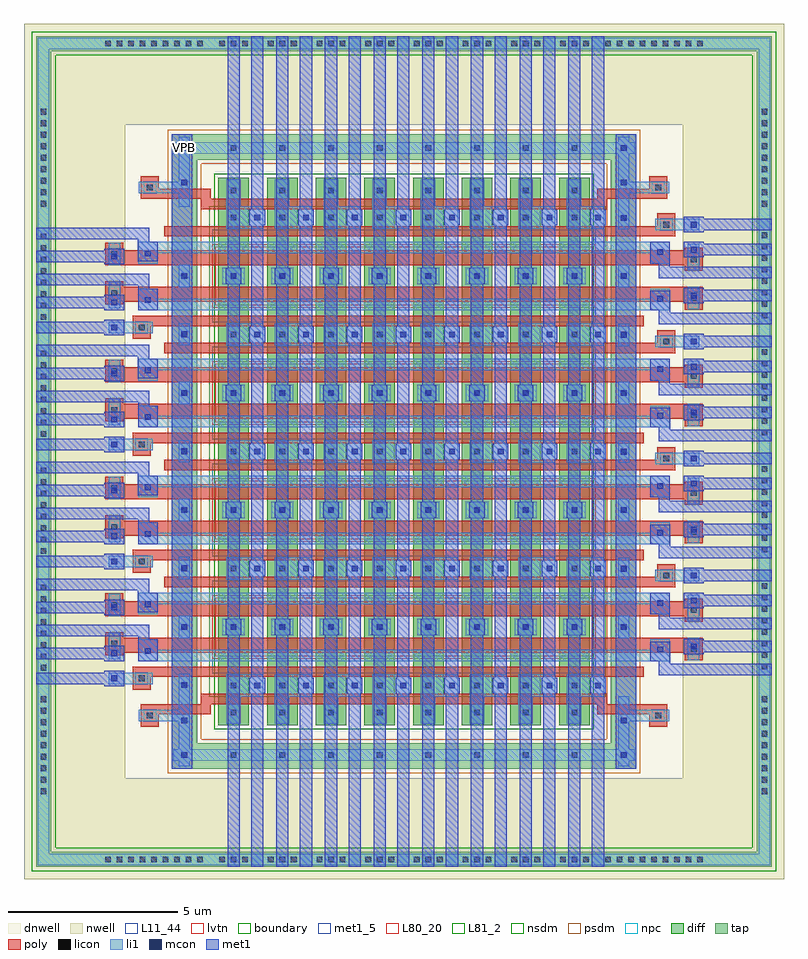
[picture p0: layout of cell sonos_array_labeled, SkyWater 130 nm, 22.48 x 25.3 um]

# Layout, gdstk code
from math import pi, radians
import gdstk
lib = gdstk.Library(unit=1e-6, precision=1e-09)
def R(c, l, rs):  # rectangles x0, y0, x1, y1
    for r in rs: c.add(gdstk.rectangle(r[:2], r[2:], *l))
def A(c, l, x, y, w, h, nx, ny, dx, dy):  # array of equal rectangles
    R(c, l, [(x+i*dx, y+j*dy, x+i*dx+w, y+j*dy+h) for i in range(nx) for j in range(ny)])
L11_44 = (11, 44)
dnwell = (64, 18)
nwell = (64, 20)
diff = (65, 20)
tap = (65, 44)
poly = (66, 20)
licon = (66, 44)
li1 = (67, 20)
mcon = (67, 44)
met1_5 = (68, 5)
met1 = (68, 20)
L80_20 = (80, 20)
L81_2 = (81, 2)
nsdm = (93, 44)
psdm = (94, 20)
npc = (95, 20)
lvtn = (125, 44)
boundary = (235, 4)

sonos_endcap_tb = lib.new_cell('sonos_endcap_tb')
R(sonos_endcap_tb, dnwell, [(-2.04,-8.93,-0.59,-6.8), (-2.04,-6.8,-0.6,-3.73)])
R(sonos_endcap_tb, nwell, [(-2.04,-9.79,-0.6,-6.8)])
R(sonos_endcap_tb, diff, [(-1.77,-5.23,-0.87,-3.81)])
R(sonos_endcap_tb, tap, [(-2.04,-9.43,-0.6,-8.98), (-2.04,-6.53,-0.59,-5.77)])
R(sonos_endcap_tb, poly, [(-2.04,-4.61,-0.6,-4.31)])
A(sonos_endcap_tb, licon, -1.745, -9.295, 0.17, 0.17, 3, 1, 0.34, 0)
R(sonos_endcap_tb, licon, [(-1.405,-6.205,-1.235,-6.035), (-1.405,-4.945,-1.235,-4.775), (-1.405,-4.145,-1.235,-3.975)])
R(sonos_endcap_tb, li1, [(-2.04,-9.38,-0.6,-9.04), (-2.04,-6.29,-0.59,-5.95), (-1.54,-5.19,-1.11,-4.39), (-1.54,-4.39,-0.44,-3.73)])
R(sonos_endcap_tb, mcon, [(-0.705,-4.145,-0.535,-3.975)])
R(sonos_endcap_tb, met1, [(-1.5,-9.43,-1.14,-3.81), (-0.8,-9.43,-0.44,-4.29), (-0.85,-4.29,-0.39,-3.83), (-0.8,-3.83,-0.44,-3.77)])
R(sonos_endcap_tb, nsdm, [(-2.165,-9.555,-0.475,-8.855), (-1.895,-5.355,-0.745,-3.685)])
R(sonos_endcap_tb, psdm, [(-2.165,-6.655,-0.465,-5.645)])

sonos_endcap_lr = lib.new_cell('sonos_endcap_lr')
R(sonos_endcap_lr, dnwell, [(-4.62,-2.12,0,1.34)])
R(sonos_endcap_lr, nwell, [(-5.48,-2.12,-2.49,1.34)])
R(sonos_endcap_lr, tap, [(-5.12,-2.12,-4.67,1.34), (-1.11,-2.12,-0.36,1.34)])
R(sonos_endcap_lr, poly, [(-2.27,-2.03,-1.73,-1.66), (-2.27,-1.66,0,-1.36), (-3.08,-1.01,-2.54,-0.94), (-3.08,-0.94,0,-0.5), (-3.08,-0.5,-2.54,-0.34), (-3.08,0.14,0,0.58), (-3.08,0.58,-2.54,0.81), (-1.33,1,0,1.3)])
A(sonos_endcap_lr, licon, -4.985, -1.475, 0.17, 0.17, 1, 8, 0, 0.34)
R(sonos_endcap_lr, licon, [(-0.825,-1.985,-0.655,-1.815), (-2.085,-1.785,-1.915,-1.615), (-2.895,-0.765,-2.725,-0.595), (-0.825,-0.265,-0.655,-0.095), (-2.895,0.385,-2.725,0.555)])
R(sonos_endcap_lr, li1, [(-0.91,-2.23,-0.57,-1.57), (-5.07,-2.12,-4.73,1.34), (-2.98,-1.87,-1.67,-1.53), (-2.1,-1.19,0,-0.85), (-2.98,-1.13,-2.64,-0.35), (-2.1,-0.85,-1.52,-0.55), (-0.91,-0.51,-0.57,0.15), (-2.98,0.14,-2.64,0.8), (-2.1,0.19,-1.52,0.49), (-2.1,0.49,0,0.83)])
R(sonos_endcap_lr, mcon, [(-0.825,-1.985,-0.655,-1.815), (-2.895,-1.785,-2.725,-1.615), (-2.895,-1.045,-2.725,-0.875), (-1.905,-0.975,-1.735,-0.805), (-0.825,-0.265,-0.655,-0.095), (-2.895,0.315,-2.725,0.485), (-1.905,0.405,-1.735,0.575)])
R(sonos_endcap_lr, met1, [(-1.11,-2.14,-0.5,1.34), (-3.1,-1.93,-2.52,-1.87), (-5.12,-1.87,-2.52,-1.53), (-3.1,-1.53,-2.52,-1.47), (-3.1,-1.19,-2.52,-1.13), (-2.1,-1.19,-1.52,-0.55), (-5.12,-1.13,-2.52,-0.79), (-3.1,-0.79,-2.52,-0.73), (-2.1,-0.55,-1.77,-0.45), (-5.12,-0.45,-1.77,-0.11), (-3.1,0.17,-2.52,0.23), (-5.12,0.23,-2.52,0.57), (-2.11,0.26,-1.52,0.83), (-3.1,0.57,-2.52,0.63), (-2.11,0.83,-1.77,0.91), (-5.12,0.91,-1.77,1.25)])
R(sonos_endcap_lr, nsdm, [(-5.245,-2.245,-4.545,1.465)])
R(sonos_endcap_lr, psdm, [(-1.235,-2.245,-0.235,1.465)])
R(sonos_endcap_lr, npc, [(-2.185,-1.885,-1.815,-1.515), (-2.995,-0.865,-2.625,-0.495), (-2.995,0.285,-2.625,0.655)])

sonos_cell = lib.new_cell('sonos_cell')
R(sonos_cell, L11_44, [(-0.635,-1.405,0.635,0.395)])
R(sonos_cell, dnwell, [(-0.72,-1.26,0.72,1.09)])
R(sonos_cell, diff, [(-0.45,-1.22,0.45,1.01)])
R(sonos_cell, poly, [(-0.72,-0.65,0.72,-0.21), (-0.72,0.21,0.72,0.51)])
R(sonos_cell, licon, [(-0.085,-1.055,0.085,-0.885), (-0.085,0.675,0.085,0.845)])
R(sonos_cell, li1, [(-0.33,-1.22,0.33,-0.72), (-0.72,-0.3,0.72,0.04), (-0.22,0.43,0.88,1.09)])
R(sonos_cell, mcon, [(-0.085,-1.055,0.085,-0.885), (0.615,0.675,0.785,0.845)])
R(sonos_cell, met1, [(-0.18,-1.26,0.18,-1.2), (0.52,-1.22,0.88,0.53), (-0.23,-1.2,0.23,-0.74), (-0.18,-0.74,0.18,1.01), (0.47,0.53,0.93,0.99), (0.52,0.99,0.88,1.05)])
R(sonos_cell, L80_20, [(-0.55,-0.75,0.55,-0.11)])
R(sonos_cell, L81_2, [(-0.72,-1.26,0.93,1.09)])
R(sonos_cell, nsdm, [(-0.575,-1.345,0.575,1.135)])
R(sonos_cell, lvtn, [(-0.63,-0.83,0.63,-0.03)])
R(sonos_cell, boundary, [(-0.72,-1.26,0.93,1.09)])

sonos_array_corner = lib.new_cell('sonos_array_corner')
R(sonos_array_corner, dnwell, [(-4.62,-6.78,0,-1.7)])
R(sonos_array_corner, nwell, [(-5.48,-7.64,0,-4.65), (-5.48,-4.65,-2.49,-1.7)])
R(sonos_array_corner, tap, [(-5.12,-7.28,0,-6.83), (-5.12,-6.83,-4.67,-1.7), (-1.11,-4.38,0,-3.62), (-1.11,-3.62,-0.36,-1.7)])
R(sonos_array_corner, poly, [(-2.03,-3.13,-1.49,-2.76), (-2.03,-2.76,0.05,-2.46), (-0.25,-2.46,0.05,-2.16)])
A(sonos_array_corner, licon, -3.08, -7.145, 0.17, 0.17, 9, 1, 0.34, 0)
A(sonos_array_corner, licon, -4.985, -5.125, 0.17, 0.17, 1, 9, 0, 0.34)
R(sonos_array_corner, licon, [(-1.845,-2.885,-1.675,-2.715)])
R(sonos_array_corner, li1, [(-5.07,-7.23,0,-6.89), (-5.07,-6.89,-4.73,-1.7), (-0.91,-4.3,-0.57,-4.14), (-1.06,-4.14,0,-3.8), (-0.91,-3.8,-0.57,-2.97), (-2.09,-2.97,-0.57,-2.63), (-0.91,-2.63,-0.57,-2.23)])
R(sonos_array_corner, mcon, [(-0.825,-4.055,-0.655,-3.885), (-0.825,-3.035,-0.655,-2.865)])
R(sonos_array_corner, met1, [(-1.11,-4.38,-0.5,-1.7)])
R(sonos_array_corner, nsdm, [(-5.245,-7.405,0.125,-6.705), (-5.245,-6.705,-4.545,-1.575)])
R(sonos_array_corner, psdm, [(-1.235,-4.505,0.125,-3.495), (-1.235,-3.495,-0.235,-1.575)])
R(sonos_array_corner, npc, [(-1.945,-2.985,-1.575,-2.615)])

sonos_array_orig = lib.new_cell('sonos_array_orig')
A(sonos_array_orig, L11_44, 1.355, -1.545, 0.17, 2.73, 7, 4, 1.44, 3.46)
R(sonos_array_orig, dnwell, [(0,-0.32,0.01,1.77)])
R(sonos_array_orig, nwell, [(15.69,-6.33,16.08,16.35)])
R(sonos_array_orig, poly, [(0,0.14,0.01,0.58), (0,1,0.01,1.3)])
A(sonos_array_orig, L80_20, 1.27, -1.04, 0.34, 0.64, 7, 2, 1.44, 1.08)
A(sonos_array_orig, L80_20, 0.17, -0.4, 11.18, 0.44, 1, 4, 0, 3.46)
A(sonos_array_orig, L80_20, 1.27, 2.42, 0.34, 0.64, 7, 2, 1.44, 1.08)
A(sonos_array_orig, L80_20, 1.27, 5.88, 0.34, 0.64, 7, 2, 1.44, 1.08)
A(sonos_array_orig, L80_20, 1.27, 9.34, 0.34, 0.64, 7, 2, 1.44, 1.08)
A(sonos_array_orig, nsdm, 1.295, -3.205, 0.29, 16.43, 7, 1, 1.44, 0)
A(sonos_array_orig, lvtn, 1.35, -1.12, 0.18, 0.8, 7, 2, 1.44, 1.08)
A(sonos_array_orig, lvtn, 0.09, -0.32, 11.34, 0.28, 1, 4, 0, 3.46)
A(sonos_array_orig, lvtn, 1.35, 2.34, 0.18, 0.8, 7, 2, 1.44, 1.08)
A(sonos_array_orig, lvtn, 1.35, 5.8, 0.18, 0.8, 7, 2, 1.44, 1.08)
A(sonos_array_orig, lvtn, 1.35, 9.26, 0.18, 0.8, 7, 2, 1.44, 1.08)
r = gdstk.Reference(sonos_endcap_tb, (2.04,7.87), x_reflection=True); r.repetition = gdstk.Repetition(8, 1, v1=(1.44,0), v2=(0,1.54)); sonos_array_orig.add(r)
r = gdstk.Reference(sonos_endcap_tb, (2.04,2.15)); r.repetition = gdstk.Repetition(8, 1, v1=(1.44,0), v2=(0,1.54)); sonos_array_orig.add(r)
r = gdstk.Reference(sonos_endcap_lr, (11.52,10.02), rotation=pi); r.repetition = gdstk.Repetition(1, 4, v1=(-4.17,0), v2=(0,-3.46)); sonos_array_orig.add(r)
r = gdstk.Reference(sonos_endcap_lr, (0,0)); r.repetition = gdstk.Repetition(1, 4, v1=(4.17,0), v2=(0,3.46)); sonos_array_orig.add(r)
r = gdstk.Reference(sonos_cell, (0.72,-1.15), x_reflection=True); r.repetition = gdstk.Repetition(8, 4, v1=(1.44,0), v2=(0,3.46)); sonos_array_orig.add(r)
r = gdstk.Reference(sonos_cell, (0.72,0.79)); r.repetition = gdstk.Repetition(8, 4, v1=(1.44,0), v2=(0,3.46)); sonos_array_orig.add(r)
sonos_array_orig.add(gdstk.Reference(sonos_array_corner, (11.52,10.02), rotation=pi))
sonos_array_orig.add(gdstk.Reference(sonos_array_corner, (11.52,0), rotation=pi, x_reflection=True))
sonos_array_orig.add(gdstk.Reference(sonos_array_corner, (0,10.02), x_reflection=True))
sonos_array_orig.add(gdstk.Reference(sonos_array_corner, (0,0)))

sonos_array_labeled = lib.new_cell('sonos_array_labeled')
R(sonos_array_labeled, met1_5, [(4.57,21.46,4.91,21.8)])
sonos_array_labeled.add(gdstk.Reference(sonos_array_orig, (5.48,7.64)))
sonos_array_labeled.add(gdstk.Label('VPB', (4.74,21.63), layer=68, texttype=5))

lib.write_gds('sonos_array_labeled.gds')
